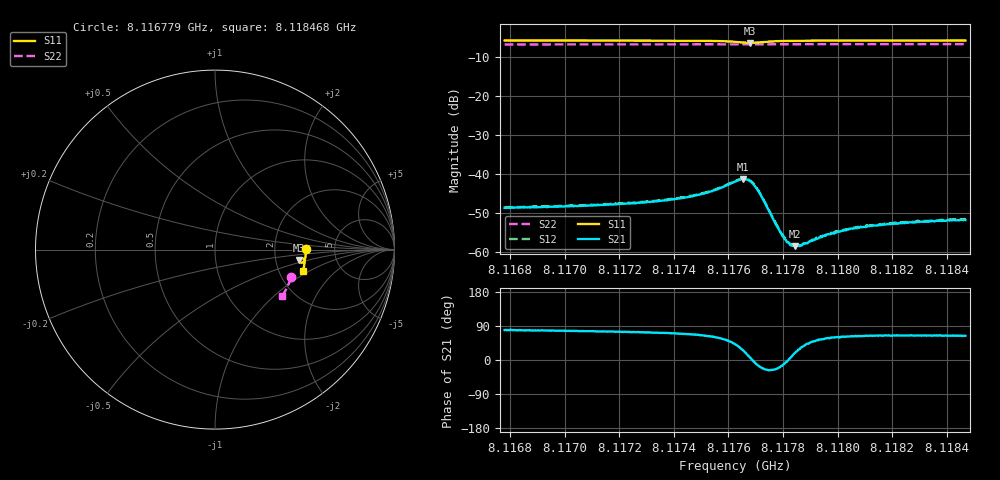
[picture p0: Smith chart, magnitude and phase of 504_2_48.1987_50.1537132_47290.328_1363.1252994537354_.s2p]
#  HZ  S  RI  R  50.00
! Rohde & Schwarz Vector Network Analyzer
! Rohde-Schwarz,ZNB20-2Port,1311601062101988,3.16
! Created: UTC 3/20/2024, 11:58:41 AM
! freq[Hz]  re:S11  im:S11  re:S21  im:S21  re:S12  im:S12  re:S22  im:S22
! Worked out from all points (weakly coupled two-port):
!   401 points, 8.116779 GHz to 8.118468 GHz, reference 50 ohm
!   highest |S21| = -41.30 dB at 8.117653 GHz (marker M1); lowest = -58.4 dB at 8.117843 GHz (marker M2)
!   lowest |S11| = -6.5 dB at 8.117679 GHz (marker M3), VSWR 2.78, Z = 136 - j20.4 ohm
!   |S11| at or under -10 dB: nowhere
!   |S22| runs from -6.9 to -6.8 dB; largest |S21 - S12| = 0.00021
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8.1167794e9  0.5066 0.000948  0.000707 0.00364  0.000733 0.00369  0.4237 -0.1538
8.1170623e9  0.5057 -0.0211  0.000931 0.00381  0.000987 0.00388  0.4173 -0.1725
8.1173452e9  0.5031 -0.0446  0.0014 0.00431  0.00149 0.0044  0.4101 -0.1908
8.1174423e9  0.501 -0.0538  0.00182 0.00467  0.00191 0.00477  0.4073 -0.1972
8.1175141e9  0.4979 -0.0616  0.00248 0.00515  0.00254 0.0052  0.405 -0.2019
8.1176239e9  0.4813 -0.0731  0.00596 0.00535  0.00612 0.00542  0.4012 -0.2088
8.1176534e9  0.4716 -0.0691  0.00777 0.0037  0.00794 0.00374  0.4 -0.2102
8.1176787e9  0.4679 -0.0584  0.00806 0.000909  0.00825 0.000875  0.3991 -0.2113
8.1176956e9  0.4714 -0.051  0.00705 -0.000773  0.00722 -0.000811  0.3989 -0.212
8.1177125e9  0.4774 -0.0473  0.00557 -0.00167  0.00568 -0.00174  0.3988 -0.2128
8.1177843e9  0.4948 -0.0544  0.00186 -0.000689  0.00187 -0.000727  0.3974 -0.2177
8.1178054e9  0.4965 -0.0576  0.00147 -0.000247  0.00153 -0.00028  0.3967 -0.219
8.1178265e9  0.4975 -0.0607  0.00122 0.000131  0.00129 0.000138  0.3962 -0.2205
8.1178434e9  0.4979 -0.063  0.00114 0.000385  0.00118 0.000355  0.3956 -0.2216
8.1178645e9  0.4984 -0.0657  0.00103 0.000653  0.00104 0.000637  0.395 -0.223
8.1179067e9  0.4986 -0.0705  0.000936 0.00104  0.000978 0.00108  0.3936 -0.2256
8.1179532e9  0.4986 -0.0753  0.000911 0.00138  0.000935 0.00133  0.3922 -0.2285
8.1180123e9  0.4982 -0.0809  0.000898 0.00164  0.000939 0.00168  0.3903 -0.2325
8.118101e9  0.4973 -0.0886  0.000936 0.00188  0.000955 0.00194  0.3871 -0.2378
8.1181896e9  0.4959 -0.0961  0.000971 0.00208  0.001 0.00209  0.3841 -0.2433
8.1182994e9  0.4942 -0.1046  0.00104 0.00221  0.00106 0.00226  0.3802 -0.2501
8.1184683e9  0.4914 -0.1175  0.00114 0.00232  0.00119 0.00234  0.374 -0.2601
